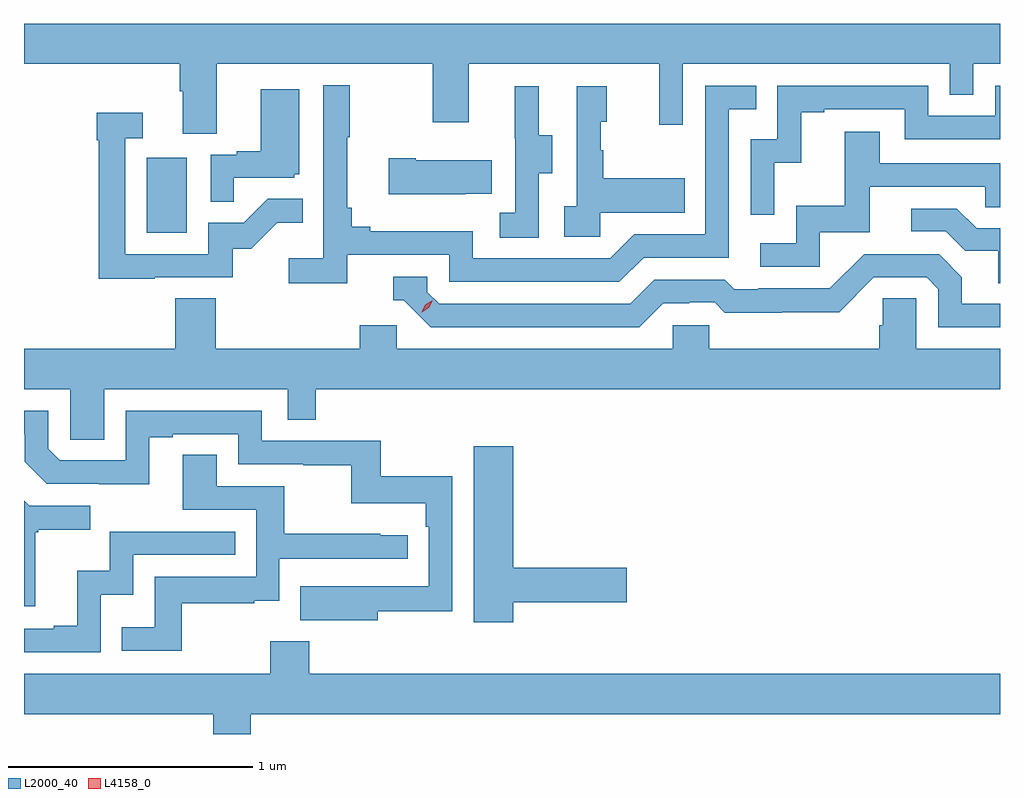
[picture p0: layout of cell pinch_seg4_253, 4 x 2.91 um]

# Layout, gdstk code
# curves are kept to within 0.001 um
import gdstk
lib = gdstk.Library(unit=1e-6, precision=1e-09)
def R(c, l, rs):  # rectangles x0, y0, x1, y1
    for r in rs: c.add(gdstk.rectangle(r[:2], r[2:], *l))
def P(c, l, *ps):  # polygons
    for p in ps: c.add(gdstk.Polygon(p, *l))
L2000_40 = (2000, 40)
L4158_0 = (4158, 0)

pinch_seg4_253 = lib.new_cell('pinch_seg4_253')
R(pinch_seg4_253, L2000_40, [(950.312,821.436,950.476,821.743)])
P(pinch_seg4_253, L2000_40, [(949.809,822.128),(950.447,822.128),(950.447,822.016),(950.459,822.016),(950.459,821.842),(950.599,821.842),(950.599,822.128),(951.484,822.128),(951.484,821.889),(951.631,821.889),(951.631,822.128),(952.412,822.128),(952.412,821.88),(952.509,821.88),(952.509,822.128),(953.604,822.128),(953.604,822.001),(953.7,822.001),(953.7,822.128),(953.809,822.128),(953.809,822.292),(949.809,822.292)],
  [(951.134,821.346),(951.552,821.346),(951.552,821.235),(952.249,821.235),(952.348,821.334),(952.698,821.334),(952.698,821.943),(952.811,821.943),(952.811,822.039),(952.602,822.039),(952.602,821.43),(952.311,821.43),(952.212,821.331),(951.648,821.331),(951.648,821.443),(951.229,821.443),(951.229,821.462),(951.152,821.462),(951.152,821.539),(951.133,821.539),(951.133,821.827),(951.145,821.827),(951.145,822.04),(951.036,822.04),(951.036,821.332),(950.895,821.332),(950.895,821.23),(951.134,821.23)],
  [(952.884,821.723),(952.994,821.723),(952.994,821.931),(953.089,821.931),(953.089,821.943),(953.418,821.943),(953.418,821.82),(953.809,821.82),(953.809,822.039),(953.79,822.039),(953.79,821.916),(953.514,821.916),(953.514,822.039),(952.896,822.039),(952.896,821.82),(952.788,821.82),(952.788,821.511),(952.884,821.511)],
  [(952.17,821.519),(952.517,821.519),(952.517,821.659),(952.183,821.659),(952.183,821.774),(952.173,821.774),(952.173,821.892),(952.198,821.892),(952.198,822.037),(952.074,822.037),(952.074,821.546),(952.023,821.546),(952.023,821.421),(952.17,821.421)],
  [(951.918,821.68),(951.973,821.68),(951.973,821.835),(951.919,821.835),(951.919,822.037),(951.821,822.037),(951.821,821.823),(951.822,821.823),(951.822,821.519),(951.759,821.519),(951.759,821.416),(951.918,821.416)],
  [(950.669,821.661),(950.916,821.661),(950.916,821.676),(950.938,821.676),(950.938,822.025),(950.78,822.025),(950.78,821.77),(950.681,821.77),(950.681,821.757),(950.574,821.757),(950.574,821.563),(950.669,821.563)],
  [(950.345,821.253),(950.664,821.253),(950.664,821.37),(950.74,821.37),(950.847,821.477),(950.951,821.477),(950.951,821.576),(950.807,821.576),(950.709,821.478),(950.565,821.478),(950.565,821.349),(950.223,821.349),(950.223,821.823),(950.296,821.823),(950.296,821.929),(950.107,821.929),(950.107,821.816),(950.115,821.816),(950.115,821.248),(950.345,821.248)],
  [(953.07,821.439),(953.275,821.439),(953.275,821.625),(953.749,821.625),(953.749,821.541),(953.809,821.541),(953.809,821.721),(953.317,821.721),(953.317,821.851),(953.173,821.851),(953.173,821.548),(952.974,821.548),(952.974,821.394),(952.827,821.394),(952.827,821.298),(953.07,821.298)],
  [(951.617,821.597),(951.725,821.597),(951.725,821.734),(951.415,821.734),(951.415,821.742),(951.303,821.742),(951.303,821.594),(951.617,821.594)],
  [(953.809,821.454),(953.713,821.454),(953.632,821.535),(953.445,821.535),(953.445,821.442),(953.586,821.442),(953.666,821.362),(953.801,821.362),(953.801,821.23),(953.809,821.23)],
  [(952.429,821.148),(952.536,821.148),(952.536,821.151),(952.639,821.151),(952.681,821.109),(952.914,821.109),(952.914,821.111),(953.15,821.111),(953.292,821.253),(953.508,821.253),(953.556,821.205),(953.556,821.049),(953.809,821.049),(953.809,821.145),(953.653,821.145),(953.653,821.255),(953.559,821.349),(953.253,821.349),(953.112,821.208),(952.819,821.208),(952.819,821.205),(952.72,821.205),(952.681,821.244),(952.392,821.244),(952.293,821.145),(951.51,821.145),(951.462,821.193),(951.462,821.256),(951.323,821.256),(951.323,821.16),(951.366,821.16),(951.477,821.049),(952.33,821.049)],
  [(950.137,820.796),(950.889,820.796),(950.889,820.669),(951.005,820.669),(951.005,820.796),(953.809,820.796),(953.809,820.96),(953.466,820.96),(953.466,821.168),(953.329,821.168),(953.329,821.058),(953.315,821.058),(953.315,820.96),(952.617,820.96),(952.617,821.058),(952.467,821.058),(952.467,820.96),(951.336,820.96),(951.336,821.058),(951.185,821.058),(951.185,820.96),(950.594,820.96),(950.594,821.168),(950.429,821.168),(950.429,820.96),(949.809,820.96),(949.809,820.796),(949.998,820.796),(949.998,820.588),(950.137,820.588)],
  [(951.259,819.886),(951.564,819.886),(951.564,820.438),(951.271,820.438),(951.271,820.584),(950.784,820.584),(950.784,820.707),(950.226,820.707),(950.226,820.503),(949.956,820.503),(949.908,820.551),(949.908,820.707),(949.809,820.707),(949.809,820.611),(949.812,820.611),(949.812,820.497),(949.902,820.407),(950.323,820.406),(950.323,820.599),(950.419,820.599),(950.419,820.611),(950.688,820.611),(950.688,820.488),(950.953,820.488),(950.953,820.483),(951.15,820.483),(951.15,820.328),(951.455,820.328),(951.455,820.232),(951.468,820.232),(951.468,819.987),(950.941,819.988),(950.941,819.848),(951.259,819.848)],
  [(951.814,819.922),(952.279,819.922),(952.279,820.064),(951.814,820.064),(951.814,820.561),(951.653,820.561),(951.653,819.84),(951.814,819.84)],
  [(950.455,819.918),(950.753,819.918),(950.753,819.929),(950.856,819.929),(950.856,820.101),(951.382,820.101),(951.382,820.197),(951.269,820.197),(951.269,820.202),(950.876,820.202),(950.876,820.398),(950.599,820.398),(950.599,820.526),(950.459,820.526),(950.459,820.302),(950.76,820.302),(950.76,820.026),(950.344,820.026),(950.344,819.82),(950.209,819.82),(950.209,819.723),(950.455,819.723)],
  [(949.855,820.209),(949.867,820.209),(949.867,820.22),(950.08,820.22),(950.08,820.317),(949.83,820.317),(949.809,820.338),(949.809,819.906),(949.855,819.906)],
  [(950.124,819.953),(950.256,819.953),(950.256,820.116),(950.675,820.116),(950.675,820.212),(950.16,820.212),(950.16,820.051),(950.027,820.051),(950.027,819.826),(949.931,819.826),(949.931,819.813),(949.809,819.813),(949.809,819.717),(950.124,819.717)],
  [(950.738,819.464),(953.809,819.464),(953.809,819.628),(950.978,819.628),(950.978,819.763),(950.818,819.763),(950.818,819.628),(949.809,819.628),(949.809,819.464),(950.585,819.464),(950.585,819.382),(950.738,819.382)])
P(pinch_seg4_253, L4158_0, [(951.437,821.108),(951.437,821.109),(951.454,821.141),(951.484,821.16),(951.485,821.16),(951.485,821.16),(951.468,821.128),(951.437,821.108)])

lib.write_gds('pinch_seg4_253.gds')
